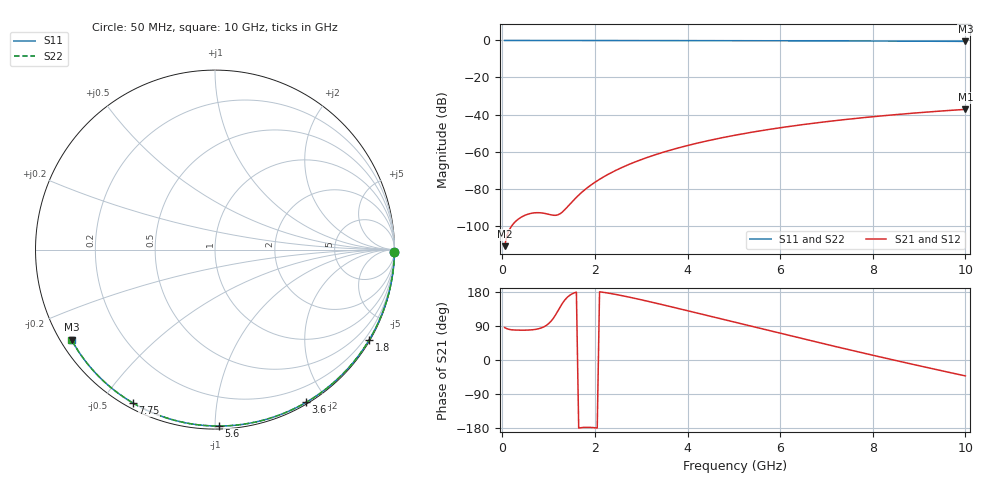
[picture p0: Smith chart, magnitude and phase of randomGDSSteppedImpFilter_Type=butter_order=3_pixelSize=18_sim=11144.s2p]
! freq	dB(S11)	phase(S11)	dB(S12)	phase(S12)
!  dB(S21)	phase(S21)	dB(S22)	phase(S22)
!S-par simulation data
#  GHz  S  DB  R 50
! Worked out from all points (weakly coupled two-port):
!   200 points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, 50 MHz to 10 GHz, reference 50 ohm
!   highest |S21| = -37.22 dB at 10 GHz (marker M1); lowest = -111.1 dB at 50 MHz (marker M2)
!   lowest |S11| = -0.5 dB at 10 GHz (marker M3), VSWR 34.83, Z = 1.55 - j14.4 ohm
!   |S11| at or under -10 dB: nowhere
!   |S22| runs from -0.5 to 0.0 dB; largest |S21 - S12| = 0
!   S11 on the Smith chart (normalised r, x): 50 MHz: open; 1.8 GHz: 0.03, -3.69; 3.6 GHz: 0.02, -1.76; 5.6 GHz: 0.02, -1.02; 7.75 GHz: 0.02, -0.60; 10 GHz: 0.03, -0.29
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0.05  -0.00 -0.9  -111.13 85.8  -111.13 85.8  -0.00 -0.9
0.45  -0.01 -7.7  -94.90 78.7  -94.90 78.7  -0.01 -7.7
0.9  -0.02 -15.3  -93.35 87.6  -93.35 87.6  -0.02 -15.3
1.3  -0.03 -22.1  -92.61 150.0  -92.61 150.0  -0.03 -22.1
1.75  -0.04 -29.5  -81.31 -178.0  -81.31 -178.0  -0.04 -29.5
1.8  -0.04 -30.4  -80.27 -177.7  -80.27 -177.7  -0.04 -30.4
2.15  -0.05 -36.1  -74.25 179.2  -74.25 179.2  -0.05 -36.1
2.3  -0.05 -38.6  -72.12 176.3  -72.12 176.3  -0.05 -38.6
2.5  -0.05 -41.8  -69.59 171.9  -69.59 171.9  -0.05 -41.8
2.9  -0.06 -48.2  -65.31 161.7  -65.31 161.7  -0.06 -48.2
3.4  -0.07 -56.1  -60.96 147.6  -60.96 147.6  -0.07 -56.1
3.6  -0.08 -59.2  -59.46 141.8  -59.46 141.8  -0.08 -59.2
4.3  -0.10 -69.9  -54.95 121.1  -54.95 121.1  -0.10 -69.9
5.05  -0.12 -81.0  -51.08 98.7  -51.08 98.7  -0.12 -81.0
5.6  -0.15 -88.9  -48.70 82.3  -48.70 82.3  -0.15 -88.9
6.15  -0.17 -96.6  -46.61 66.0  -46.61 66.0  -0.17 -96.6
6.7  -0.20 -104.1  -44.78 49.9  -44.78 49.9  -0.20 -104.2
7.2  -0.23 -110.9  -43.28 35.4  -43.28 35.4  -0.23 -110.9
7.75  -0.27 -118.3  -41.81 19.6  -41.81 19.6  -0.27 -118.3
8.35  -0.32 -126.2  -40.38 2.8  -40.38 2.8  -0.32 -126.2
9.2  -0.41 -137.3  -38.63 -20.6  -38.63 -20.6  -0.41 -137.3
10  -0.50 -147.9  -37.22 -42.0  -37.22 -42.0  -0.50 -147.9
